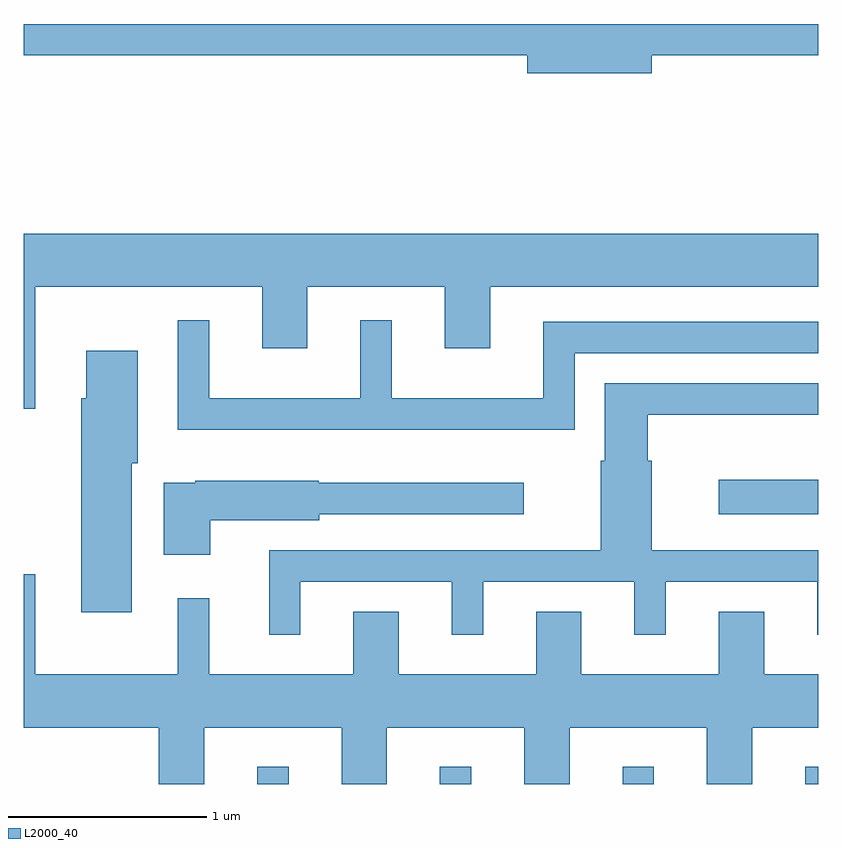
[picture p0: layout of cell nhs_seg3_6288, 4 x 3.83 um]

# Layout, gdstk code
import gdstk
lib = gdstk.Library(unit=1e-6, precision=1e-09)
def R(c, l, rs):  # rectangles x0, y0, x1, y1
    for r in rs: c.add(gdstk.rectangle(r[:2], r[2:], *l))
def A(c, l, x, y, w, h, nx, ny, dx, dy):  # array of equal rectangles
    R(c, l, [(x+i*dx, y+j*dy, x+i*dx+w, y+j*dy+h) for i in range(nx) for j in range(ny)])
def P(c, l, *ps):  # polygons
    for p in ps: c.add(gdstk.Polygon(p, *l))
L2000_40 = (2000, 40)

nhs_seg3_6288 = lib.new_cell('nhs_seg3_6288')
A(nhs_seg3_6288, L2000_40, 370.786, 1187.892, 0.158, 0.086, 3, 1, 0.92, 0)
R(nhs_seg3_6288, L2000_40, [(373.546,1187.892,373.611,1187.978), (373.111,1189.251,373.611,1189.424)])
P(nhs_seg3_6288, L2000_40, [(372.774,1191.561),(373.611,1191.561),(373.611,1191.719),(369.611,1191.719),(369.611,1191.561),(372.146,1191.561),(372.146,1191.471),(372.774,1191.471)],
  [(369.669,1190.396),(370.811,1190.396),(370.811,1190.086),(371.039,1190.086),(371.039,1190.396),(371.731,1190.396),(371.731,1190.086),(371.959,1190.086),(371.959,1190.396),(373.611,1190.396),(373.611,1190.664),(369.611,1190.664),(369.611,1189.781),(369.669,1189.781)],
  [(372.384,1190.061),(373.611,1190.061),(373.611,1190.219),(372.226,1190.219),(372.226,1189.834),(371.464,1189.834),(371.464,1190.228),(371.306,1190.228),(371.306,1189.834),(370.544,1189.834),(370.544,1190.228),(370.386,1190.228),(370.386,1189.676),(372.384,1189.676)],
  [(370.154,1189.506),(370.184,1189.506),(370.184,1190.074),(369.926,1190.074),(369.926,1189.834),(369.901,1189.834),(369.901,1188.756),(370.154,1188.756)],
  [(371.004,1188.911),(371.766,1188.911),(371.766,1188.643),(371.924,1188.643),(371.924,1188.911),(372.686,1188.911),(372.686,1188.643),(372.844,1188.643),(372.844,1188.911),(373.606,1188.911),(373.606,1188.643),(373.611,1188.643),(373.611,1189.069),(372.774,1189.069),(372.774,1189.519),(372.754,1189.519),(372.754,1189.751),(373.611,1189.751),(373.611,1189.909),(372.536,1189.909),(372.536,1189.519),(372.516,1189.519),(372.516,1189.069),(370.846,1189.069),(370.846,1188.643),(371.004,1188.643)],
  [(370.549,1189.221),(371.099,1189.221),(371.099,1189.251),(372.128,1189.251),(372.128,1189.409),(371.095,1189.409),(371.095,1189.419),(370.475,1189.419),(370.475,1189.409),(370.316,1189.409),(370.316,1189.046),(370.549,1189.046)],
  [(370.519,1188.176),(371.211,1188.176),(371.211,1187.892),(371.439,1187.892),(371.439,1188.176),(372.131,1188.176),(372.131,1187.892),(372.359,1187.892),(372.359,1188.176),(373.051,1188.176),(373.051,1187.892),(373.279,1187.892),(373.279,1188.176),(373.611,1188.176),(373.611,1188.444),(373.339,1188.444),(373.339,1188.759),(373.111,1188.759),(373.111,1188.444),(372.419,1188.444),(372.419,1188.759),(372.191,1188.759),(372.191,1188.444),(371.499,1188.444),(371.499,1188.759),(371.271,1188.759),(371.271,1188.444),(370.544,1188.444),(370.544,1188.828),(370.386,1188.828),(370.386,1188.444),(369.669,1188.444),(369.669,1188.949),(369.611,1188.949),(369.611,1188.176),(370.291,1188.176),(370.291,1187.892),(370.519,1187.892)])

lib.write_gds('nhs_seg3_6288.gds')
